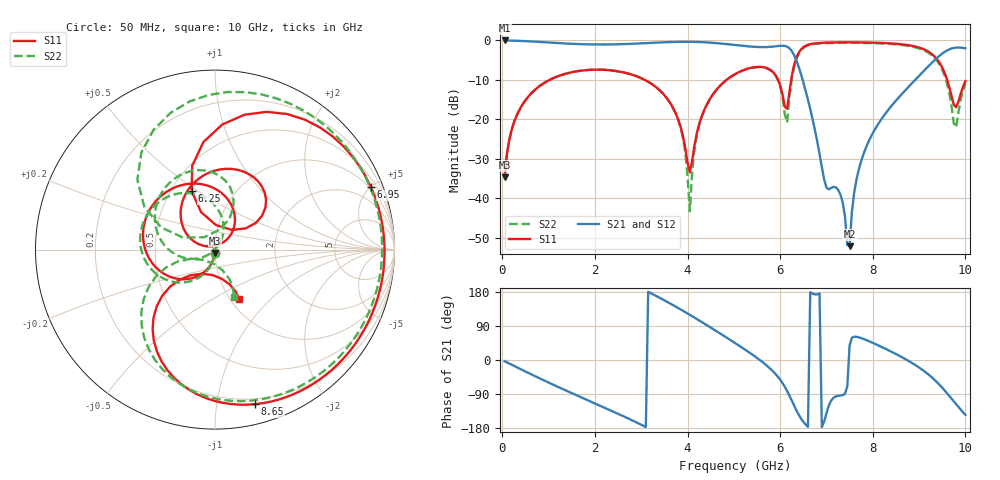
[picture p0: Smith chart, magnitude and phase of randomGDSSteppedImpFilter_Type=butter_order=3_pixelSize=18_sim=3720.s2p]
! freq	dB(S11)	phase(S11)	dB(S12)	phase(S12)
!  dB(S21)	phase(S21)	dB(S22)	phase(S22)
!S-par simulation data
#  GHz  S  DB  R 50
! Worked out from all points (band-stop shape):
!   200 points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, 50 MHz to 10 GHz, reference 50 ohm
!   highest |S21| = -0.01 dB at 50 MHz (marker M1); lowest = -52.1 dB at 7.5 GHz (marker M2)
!   |S21| within 3 dB of the highest: start of sweep to 6.267 GHz; 9.54 GHz to end of sweep
!   lowest |S11| = -34.7 dB at 50 MHz (marker M3), VSWR 1.04, Z = 49.9 - j1.83 ohm
!   |S11| at or under -10 dB: start of sweep to 1.021 GHz; 3.079 GHz to 4.841 GHz (1.762 GHz wide, 44.5 % of centre); 9.606 GHz to end of sweep (the widest 3 of 4)
!   |S22| runs from -43.2 to -0.6 dB; largest |S21 - S12| = 0
!   S11 on the Smith chart (normalised r, x): 50 MHz: 1.00, -0.04; 6.25 GHz: 0.63, +0.47; 6.95 GHz: 0.90, +5.04; 8.65 GHz: 0.15, -1.28; 10 GHz: 1.10, -0.67
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0.05  -34.70 -93.3  -0.01 -3.1  -0.01 -3.1  -34.69 -93.0
0.5  -15.15 -122.7  -0.18 -30.4  -0.18 -30.4  -15.14 -119.1
1.75  -7.59 162.1  -0.96 -100.9  -0.96 -100.9  -7.58 175.2
3.4  -12.64 62.9  -0.51 164.1  -0.51 164.1  -12.66 87.6
3.85  -21.85 40.3  -0.35 133.5  -0.35 133.5  -22.14 59.4
4.05  -33.39 104.4  -0.34 119.2  -0.34 119.2  -43.24 158.6
4.15  -26.53 157.1  -0.37 111.9  -0.37 111.9  -27.47 -142.4
4.3  -19.43 160.6  -0.43 100.8  -0.43 100.8  -19.61 -152.4
5.05  -8.37 109.8  -1.18 42.9  -1.18 42.9  -8.42 152.2
5.85  -8.04 44.1  -1.56 -30.4  -1.56 -30.4  -8.16 81.9
6.15  -17.31 87.4  -1.58 -81.7  -1.58 -81.7  -20.74 131.3
6.25  -9.09 111.7  -2.65 -106.9  -2.65 -106.9  -9.75 157.6
6.7  -0.82 43.9  -19.92 175.2  -19.92 175.2  -0.98 79.0
6.95  -0.57 21.8  -35.20 -162.2  -35.20 -162.2  -0.71 52.9
7.3  -0.49 -1.9  -38.97 -93.6  -38.97 -93.6  -0.62 23.5
7.5  -0.48 -13.7  -52.09 38.9  -52.09 38.9  -0.61 8.3
7.75  -0.50 -27.5  -30.52 57.8  -30.52 57.8  -0.63 -9.8
8.35  -0.72 -59.1  -17.35 25.1  -17.35 25.1  -0.87 -51.4
8.65  -1.01 -75.4  -13.29 6.0  -13.29 6.0  -1.18 -72.7
9.35  -4.27 -123.8  -4.83 -54.2  -4.83 -54.2  -4.62 -134.1
9.8  -16.92 -95.4  -1.81 -116.9  -1.81 -116.9  -22.04 -95.4
10  -10.30 -63.8  -1.98 -144.8  -1.98 -144.8  -10.98 -68.1
